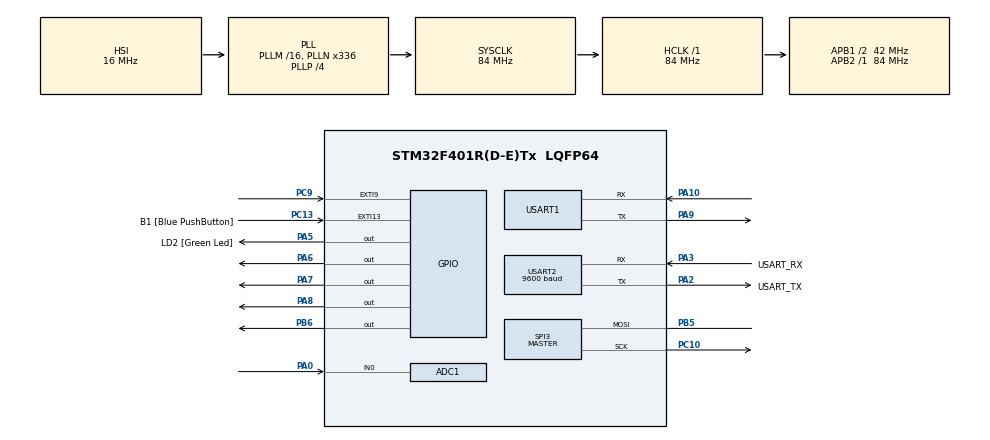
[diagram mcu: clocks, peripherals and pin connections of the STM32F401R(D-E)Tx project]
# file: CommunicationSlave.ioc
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ADC1.Channel-1\#ChannelRegularConversion=ADC_CHANNEL_0
ADC1.NbrOfConversionFlag=1
ADC1.Rank-1\#ChannelRegularConversion=1
ADC1.SamplingTime-1\#ChannelRegularConversion=ADC_SAMPLETIME_3CYCLES
ADC1.master=1
Mcu.Family=STM32F4
Mcu.Name=STM32F401R(D-E)Tx
Mcu.Package=LQFP64
NVIC.PriorityGroup=NVIC_PRIORITYGROUP_0
PA0-WKUP.Signal=ADCx_IN0
PA10.Mode=Asynchronous
PA10.Signal=USART1_RX
PA13.GPIO_Label=TMS
PA13.Mode=Serial_Wire
PA13.Signal=SYS_JTMS-SWDIO
PA14.GPIO_Label=TCK
PA14.Mode=Serial_Wire
PA14.Signal=SYS_JTCK-SWCLK
PA2.GPIO_Label=USART_TX
PA2.GPIO_Mode=GPIO_MODE_AF_PP
PA2.GPIO_PuPd=GPIO_NOPULL
PA2.GPIO_Speed=GPIO_SPEED_FREQ_LOW
PA2.Mode=Asynchronous
PA2.Signal=USART2_TX
PA3.GPIO_Label=USART_RX
PA3.GPIO_Mode=GPIO_MODE_AF_PP
PA3.GPIO_PuPd=GPIO_NOPULL
PA3.GPIO_Speed=GPIO_SPEED_FREQ_LOW
PA3.Mode=Asynchronous
PA3.Signal=USART2_RX
PA5.GPIO_Label=LD2 [Green Led]
PA5.GPIO_Mode=GPIO_MODE_OUTPUT_PP
PA5.GPIO_PuPd=GPIO_NOPULL
PA5.GPIO_Speed=GPIO_SPEED_FREQ_LOW
PA5.Signal=GPIO_Output
PA6.Signal=GPIO_Output
PA7.Signal=GPIO_Output
PA8.Signal=GPIO_Output
PA9.Mode=Asynchronous
PA9.Signal=USART1_TX
PB3.GPIO_Label=SWO
PB3.Signal=SYS_JTDO-SWO
PB4.Signal=SPI3_MISO
PB5.Mode=Simplex_Bidirectional_Master
PB5.Signal=SPI3_MOSI
PB6.Signal=GPIO_Output
PC10.Mode=Simplex_Bidirectional_Master
PC10.Signal=SPI3_SCK
PC13-ANTI_TAMP.GPIO_Label=B1 [Blue PushButton]
PC13-ANTI_TAMP.GPIO_ModeDefaultEXTI=GPIO_MODE_IT_FALLING
PC13-ANTI_TAMP.GPIO_PuPd=GPIO_NOPULL
PC13-ANTI_TAMP.Signal=GPXTI13
PC14-OSC32_IN.Mode=LSE-External-Oscillator
PC14-OSC32_IN.Signal=RCC_OSC32_IN
PC15-OSC32_OUT.Mode=LSE-External-Oscillator
PC15-OSC32_OUT.Signal=RCC_OSC32_OUT
PC9.Signal=GPXTI9
PH0\ -\ OSC_IN.Mode=HSE-External-Clock-Source
PH0\ -\ OSC_IN.Signal=RCC_OSC_IN
PH1\ -\ OSC_OUT.Mode=HSE-External-Clock-Source
PH1\ -\ OSC_OUT.Signal=RCC_OSC_OUT
ProjectManager.HeapSize=0x200
ProjectManager.StackSize=0x400
ProjectManager.TargetToolchain=STM32CubeIDE
RCC.48MHZClocksFreq_Value=48000000
RCC.AHBFreq_Value=84000000
RCC.APB1CLKDivider=RCC_HCLK_DIV2
RCC.APB1Freq_Value=42000000
RCC.APB1TimFreq_Value=84000000
RCC.APB2Freq_Value=84000000
RCC.APB2TimFreq_Value=84000000
RCC.CortexFreq_Value=84000000
RCC.HCLKFreq_Value=84000000
RCC.HSE_VALUE=8000000
RCC.HSI_VALUE=16000000
RCC.PLLN=336
RCC.PLLP=RCC_PLLP_DIV4
RCC.PLLQ=7
RCC.SYSCLKFreq_VALUE=84000000
RCC.SYSCLKSource=RCC_SYSCLKSOURCE_PLLCLK
RCC.VCOOutputFreq_Value=336000000
SH.ADCx_IN0.0=ADC1_IN0,IN0
SPI3.Direction=SPI_DIRECTION_1LINE
SPI3.Mode=SPI_MODE_MASTER
SPI3.VirtualType=VM_MASTER
USART1.VirtualMode=VM_ASYNC
USART2.BaudRate=9600
USART2.VirtualMode=VM_ASYNC
board=NUCLEO-F401RE

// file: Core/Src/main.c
/* USER CODE BEGIN Header */
/**
  ******************************************************************************
  * @file           : main.c
  * @brief          : Main program body
  ******************************************************************************
  * @attention
  *
  * Copyright (c) 2024 STMicroelectronics.
  * All rights reserved.
  *
  * This software is licensed under terms that can be found in the LICENSE file
  * in the root directory of this software component.
  * If no LICENSE file comes with this software, it is provided AS-IS.
  *
  ******************************************************************************
  */
/* USER CODE END Header */
#include "main.h"

/* USER CODE BEGIN PD */
#define MOTOR1_CW_PIN GPIO_PIN_6   // PA6
#define MOTOR1_CCW_PIN GPIO_PIN_7  // PA7
#define MOTOR2_CW_PIN GPIO_PIN_8   // PA8
#define MOTOR2_CCW_PIN GPIO_PIN_6  // PB6
#define MOTOR_GPIO_PORT GPIOA      // All motor pins are on GPIOA
#define MOTOR_GPIO_PORT2 GPIOB
/* USER CODE END PD */

ADC_HandleTypeDef hadc1;

SPI_HandleTypeDef hspi3;

UART_HandleTypeDef huart1;
UART_HandleTypeDef huart2;

void SystemClock_Config(void);
static void MX_GPIO_Init(void);
static void MX_USART2_UART_Init(void);
static void MX_SPI3_Init(void);
static void MX_ADC1_Init(void);
static void MX_USART1_UART_Init(void);

int main(void)
{

  /* MCU Configuration--------------------------------------------------------*/

  /* Reset of all peripherals, Initializes the Flash interface and the Systick. */
  HAL_Init();

  /* USER CODE BEGIN Init */
  uint8_t txData[2]; // Data to transmit
  uint8_t rxData[2]; // Store received data
  int motor1Direction=0,motor2Direction=0;

  /* USER CODE END Init */

  /* Configure the system clock */
  SystemClock_Config();

  /* Initialize all configured peripherals */
  MX_GPIO_Init();
  MX_USART2_UART_Init();
  MX_SPI3_Init();
  MX_ADC1_Init();
  MX_USART1_UART_Init();

  /* Infinite loop */
  while (1)
  {

    /* USER CODE BEGIN 3 */
	  int tdsValue;

	  HAL_ADC_Start(&hadc1); // Start the ADC
	  HAL_ADC_PollForConversion(&hadc1, HAL_MAX_DELAY);
	  uint32_t adcValue = HAL_ADC_GetValue(&hadc1);
	  uint16_t actualAdcValue = (uint16_t)(adcValue & 0x0FFF); // 取低12�??????
	  float voltage = (actualAdcValue / 4095.0) * 3.3; // Assuming 12-bit ADC and 3.3V reference

	  tdsValue = (voltage * 1000) / 2; // Example conversion formula
	  	  	  	       // Use tdsValue as needed
	  // HAL_UART_Transmit(&huart2, tdsValue, strlen(tdsValue), HAL_MAX_DELAY);
	  // HAL_Delay(1000);

	  // Convert TDS value to 2 bytes
	  uint8_t txData[4];
	  uint8_t rxData[2]={11,11}; // Receive buffer
//	  txData[3] = (tdsValue >> 8) & 0xFF; // High byte
//	  txData[2] = tdsValue & 0xFF;
//	  txData[1] = (tdsValue >> 16) & 0xFF; // High byte
//	  txData[0] = (tdsValue >> 24) & 0xFF;
	  // Low byte    // Convert TDS value to 2 bytes
//	  if (HAL_SPI_TransmitReceive(&hspi3, txData, rxData, sizeof(txData), HAL_MAX_DELAY) != HAL_OK)
//	     {
//	            // Handle transmission/reception error
//	            Error_Handler();
//	     }
	  // Combine received bytes into an integer (if needed)
	  //uart communication

	  HAL_UART_Receive(&huart1, rxData, sizeof(rxData), HAL_MAX_DELAY);
	  uint8_t data[4]; // 假设 int 为 4 字节
	  memcpy(data, &tdsValue, sizeof(tdsValue)); // 将 int 转换为字节数组
	  HAL_UART_Transmit(&huart1, data, sizeof(data), 1000);

      // Interpret received data
      motor1Direction = (int8_t)rxData[0]; // Convert to signed value
      motor2Direction = (int8_t)rxData[1];

      // Control the Directions of two motors.

//	    // Combine directions into txData (you can use more sophisticated control here)
//	    txData[0] = motor1Direction;  // Send motor 1 direction
//	    txData[1] = motor2Direction;  // Send motor 2 direction
	  //controlBothMotors(motor1Direction, motor2Direction);
	  // Debug output (optional)

	  char buffer[50];
	  snprintf(buffer, sizeof(buffer), "Sent: %d, Received: %d, %d\r\n", tdsValue, motor1Direction,motor2Direction);
	  HAL_UART_Transmit(&huart2, (uint8_t *)buffer, strlen(buffer), HAL_MAX_DELAY);

	  HAL_Delay(5000);

  }
  /* USER CODE END 3 */
}

void SystemClock_Config(void)
{
  RCC_OscInitTypeDef RCC_OscInitStruct = {0};
  RCC_ClkInitTypeDef RCC_ClkInitStruct = {0};

  /** Configure the main internal regulator output voltage
  */
  __HAL_RCC_PWR_CLK_ENABLE();
  __HAL_PWR_VOLTAGESCALING_CONFIG(PWR_REGULATOR_VOLTAGE_SCALE2);

  /** Initializes the RCC Oscillators according to the specified parameters
  * in the RCC_OscInitTypeDef structure.
  */
  RCC_OscInitStruct.OscillatorType = RCC_OSCILLATORTYPE_HSI;
  RCC_OscInitStruct.HSIState = RCC_HSI_ON;
  RCC_OscInitStruct.HSICalibrationValue = RCC_HSICALIBRATION_DEFAULT;
  RCC_OscInitStruct.PLL.PLLState = RCC_PLL_ON;
  RCC_OscInitStruct.PLL.PLLSource = RCC_PLLSOURCE_HSI;
  RCC_OscInitStruct.PLL.PLLM = 16;
  RCC_OscInitStruct.PLL.PLLN = 336;
  RCC_OscInitStruct.PLL.PLLP = RCC_PLLP_DIV4;
  RCC_OscInitStruct.PLL.PLLQ = 7;
  if (HAL_RCC_OscConfig(&RCC_OscInitStruct) != HAL_OK)
  {
    Error_Handler();
  }

  /** Initializes the CPU, AHB and APB buses clocks
  */
  RCC_ClkInitStruct.ClockType = RCC_CLOCKTYPE_HCLK|RCC_CLOCKTYPE_SYSCLK
                              |RCC_CLOCKTYPE_PCLK1|RCC_CLOCKTYPE_PCLK2;
  RCC_ClkInitStruct.SYSCLKSource = RCC_SYSCLKSOURCE_PLLCLK;
  RCC_ClkInitStruct.AHBCLKDivider = RCC_SYSCLK_DIV1;
  RCC_ClkInitStruct.APB1CLKDivider = RCC_HCLK_DIV2;
  RCC_ClkInitStruct.APB2CLKDivider = RCC_HCLK_DIV1;

  if (HAL_RCC_ClockConfig(&RCC_ClkInitStruct, FLASH_LATENCY_2) != HAL_OK)
  {
    Error_Handler();
  }
}

static void MX_ADC1_Init(void)
{

  ADC_ChannelConfTypeDef sConfig = {0};

  /** Configure the global features of the ADC (Clock, Resolution, Data Alignment and number of conversion)
  */
  hadc1.Instance = ADC1;
  hadc1.Init.ClockPrescaler = ADC_CLOCK_SYNC_PCLK_DIV4;
  hadc1.Init.Resolution = ADC_RESOLUTION_12B;
  hadc1.Init.ScanConvMode = DISABLE;
  hadc1.Init.ContinuousConvMode = DISABLE;
  hadc1.Init.DiscontinuousConvMode = DISABLE;
  hadc1.Init.ExternalTrigConvEdge = ADC_EXTERNALTRIGCONVEDGE_NONE;
  hadc1.Init.ExternalTrigConv = ADC_SOFTWARE_START;
  hadc1.Init.DataAlign = ADC_DATAALIGN_RIGHT;
  hadc1.Init.NbrOfConversion = 1;
  hadc1.Init.DMAContinuousRequests = DISABLE;
  hadc1.Init.EOCSelection = ADC_EOC_SINGLE_CONV;
  if (HAL_ADC_Init(&hadc1) != HAL_OK)
  {
    Error_Handler();
  }

  /** Configure for the selected ADC regular channel its corresponding rank in the sequencer and its sample time.
  */
  sConfig.Channel = ADC_CHANNEL_0;
  sConfig.Rank = 1;
  sConfig.SamplingTime = ADC_SAMPLETIME_3CYCLES;
  if (HAL_ADC_ConfigChannel(&hadc1, &sConfig) != HAL_OK)
  {
    Error_Handler();
  }

}

static void MX_SPI3_Init(void)
{

  /* SPI3 parameter configuration*/
  hspi3.Instance = SPI3;
  hspi3.Init.Mode = SPI_MODE_MASTER;
  hspi3.Init.Direction = SPI_DIRECTION_1LINE;
  hspi3.Init.DataSize = SPI_DATASIZE_8BIT;
  hspi3.Init.CLKPolarity = SPI_POLARITY_LOW;
  hspi3.Init.CLKPhase = SPI_PHASE_1EDGE;
  hspi3.Init.NSS = SPI_NSS_SOFT;
  hspi3.Init.BaudRatePrescaler = SPI_BAUDRATEPRESCALER_2;
  hspi3.Init.FirstBit = SPI_FIRSTBIT_MSB;
  hspi3.Init.TIMode = SPI_TIMODE_DISABLE;
  hspi3.Init.CRCCalculation = SPI_CRCCALCULATION_DISABLE;
  hspi3.Init.CRCPolynomial = 10;
  if (HAL_SPI_Init(&hspi3) != HAL_OK)
  {
    Error_Handler();
  }

}

static void MX_USART1_UART_Init(void)
{

  huart1.Instance = USART1;
  huart1.Init.BaudRate = 115200;
  huart1.Init.WordLength = UART_WORDLENGTH_8B;
  huart1.Init.StopBits = UART_STOPBITS_1;
  huart1.Init.Parity = UART_PARITY_NONE;
  huart1.Init.Mode = UART_MODE_TX_RX;
  huart1.Init.HwFlowCtl = UART_HWCONTROL_NONE;
  huart1.Init.OverSampling = UART_OVERSAMPLING_16;
  if (HAL_UART_Init(&huart1) != HAL_OK)
  {
    Error_Handler();
  }

}

static void MX_USART2_UART_Init(void)
{

  huart2.Instance = USART2;
  huart2.Init.BaudRate = 9600;
  huart2.Init.WordLength = UART_WORDLENGTH_8B;
  huart2.Init.StopBits = UART_STOPBITS_1;
  huart2.Init.Parity = UART_PARITY_NONE;
  huart2.Init.Mode = UART_MODE_TX_RX;
  huart2.Init.HwFlowCtl = UART_HWCONTROL_NONE;
  huart2.Init.OverSampling = UART_OVERSAMPLING_16;
  if (HAL_UART_Init(&huart2) != HAL_OK)
  {
    Error_Handler();
  }

}

static void MX_GPIO_Init(void)
{
  GPIO_InitTypeDef GPIO_InitStruct = {0};

  /* GPIO Ports Clock Enable */
  __HAL_RCC_GPIOC_CLK_ENABLE();
  __HAL_RCC_GPIOH_CLK_ENABLE();
  __HAL_RCC_GPIOA_CLK_ENABLE();
  __HAL_RCC_GPIOB_CLK_ENABLE();

  /*Configure GPIO pin Output Level */
  HAL_GPIO_WritePin(GPIOA, LD2_Pin|GPIO_PIN_6|GPIO_PIN_7|GPIO_PIN_8, GPIO_PIN_RESET);

  /*Configure GPIO pin Output Level */
  HAL_GPIO_WritePin(GPIOB, GPIO_PIN_6, GPIO_PIN_RESET);

  /*Configure GPIO pin : B1_Pin */
  GPIO_InitStruct.Pin = B1_Pin;
  GPIO_InitStruct.Mode = GPIO_MODE_IT_FALLING;
  GPIO_InitStruct.Pull = GPIO_NOPULL;
  HAL_GPIO_Init(B1_GPIO_Port, &GPIO_InitStruct);

  /*Configure GPIO pins : LD2_Pin PA6 PA7 PA8 */
  GPIO_InitStruct.Pin = LD2_Pin|GPIO_PIN_6|GPIO_PIN_7|GPIO_PIN_8;
  GPIO_InitStruct.Mode = GPIO_MODE_OUTPUT_PP;
  GPIO_InitStruct.Pull = GPIO_NOPULL;
  GPIO_InitStruct.Speed = GPIO_SPEED_FREQ_LOW;
  HAL_GPIO_Init(GPIOA, &GPIO_InitStruct);

  /*Configure GPIO pin : PC9 */
  GPIO_InitStruct.Pin = GPIO_PIN_9;
  GPIO_InitStruct.Mode = GPIO_MODE_IT_RISING;
  GPIO_InitStruct.Pull = GPIO_NOPULL;
  HAL_GPIO_Init(GPIOC, &GPIO_InitStruct);

  /*Configure GPIO pin : PB6 */
  GPIO_InitStruct.Pin = GPIO_PIN_6;
  GPIO_InitStruct.Mode = GPIO_MODE_OUTPUT_PP;
  GPIO_InitStruct.Pull = GPIO_NOPULL;
  GPIO_InitStruct.Speed = GPIO_SPEED_FREQ_LOW;
  HAL_GPIO_Init(GPIOB, &GPIO_InitStruct);

}

/* USER CODE BEGIN 4 */
/**
  * @brief Control motor direction
  * @param motor: 1 for Motor1, 2 for Motor2
  * @param direction: 1 for CW, -1 for CCW, 0 for Stop
  */
void controlBothMotors(int motor1Direction, int motor2Direction)
{
    // Motor 1 control
    switch (motor1Direction)
    {
    case 1: // Clockwise
        HAL_GPIO_WritePin(MOTOR_GPIO_PORT, MOTOR1_CW_PIN, GPIO_PIN_SET);
        HAL_GPIO_WritePin(MOTOR_GPIO_PORT, MOTOR1_CCW_PIN, GPIO_PIN_RESET);
        break;
    case -1: // Counterclockwise
        HAL_GPIO_WritePin(MOTOR_GPIO_PORT, MOTOR1_CW_PIN, GPIO_PIN_RESET);
        HAL_GPIO_WritePin(MOTOR_GPIO_PORT, MOTOR1_CCW_PIN, GPIO_PIN_SET);
        break;
    default: // Stop
        HAL_GPIO_WritePin(MOTOR_GPIO_PORT, MOTOR1_CW_PIN, GPIO_PIN_RESET);
        HAL_GPIO_WritePin(MOTOR_GPIO_PORT, MOTOR1_CCW_PIN, GPIO_PIN_RESET);
        break;
    }

    // Motor 2 control
    switch (motor2Direction)
    {
    case 1: // Clockwise
        HAL_GPIO_WritePin(MOTOR_GPIO_PORT, MOTOR2_CW_PIN, GPIO_PIN_SET);
        HAL_GPIO_WritePin(MOTOR_GPIO_PORT2, MOTOR2_CCW_PIN, GPIO_PIN_RESET);
        break;
    case -1: // Counterclockwise
        HAL_GPIO_WritePin(MOTOR_GPIO_PORT, MOTOR2_CW_PIN, GPIO_PIN_RESET);
        HAL_GPIO_WritePin(MOTOR_GPIO_PORT2, MOTOR2_CCW_PIN, GPIO_PIN_SET);
        break;
    default: // Stop
        HAL_GPIO_WritePin(MOTOR_GPIO_PORT, MOTOR2_CW_PIN, GPIO_PIN_RESET);
        HAL_GPIO_WritePin(MOTOR_GPIO_PORT2, MOTOR2_CCW_PIN, GPIO_PIN_RESET);
        break;
    }
}

/* USER CODE END 4 */

void Error_Handler(void)
{
  __disable_irq();
  while (1)
  {
  }
}
